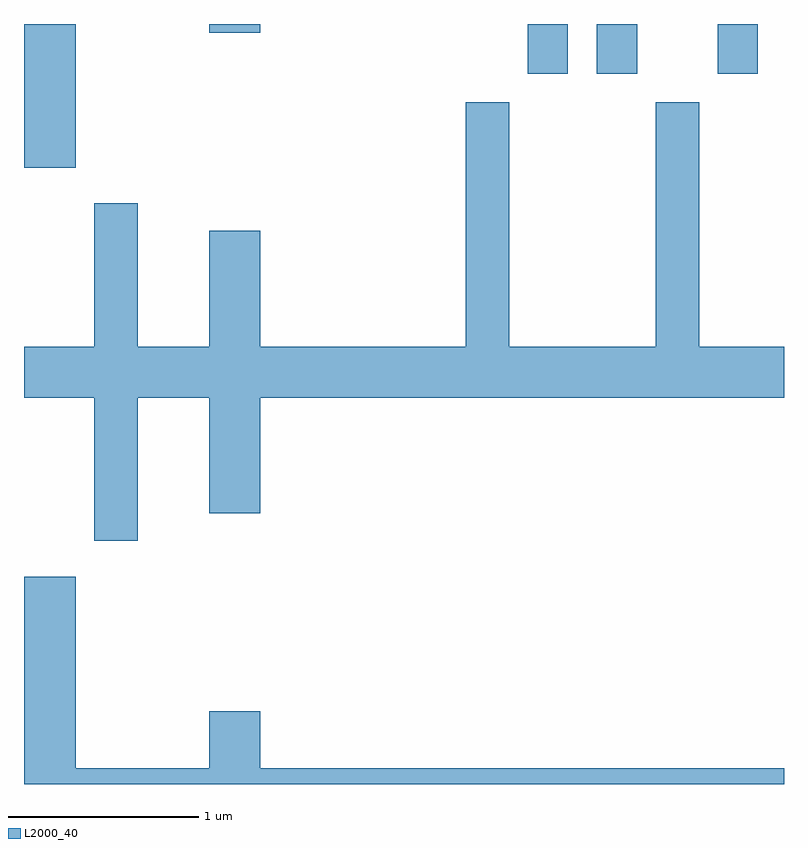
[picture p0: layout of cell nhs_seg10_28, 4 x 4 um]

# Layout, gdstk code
import gdstk
lib = gdstk.Library(unit=1e-6, precision=1e-09)
def R(c, l, rs):  # rectangles x0, y0, x1, y1
    for r in rs: c.add(gdstk.rectangle(r[:2], r[2:], *l))
def P(c, l, *ps):  # polygons
    for p in ps: c.add(gdstk.Polygon(p, *l))
L2000_40 = (2000, 40)

nhs_seg10_28 = lib.new_cell('nhs_seg10_28')
R(nhs_seg10_28, L2000_40, [(185.611,2141.766,185.884,2142.522), (188.261,2142.261,188.474,2142.522), (188.626,2142.261,188.839,2142.522), (189.261,2142.261,189.474,2142.522), (186.586,2142.476,186.854,2142.522)])
P(nhs_seg10_28, L2000_40, [(186.209,2140.556),(186.586,2140.556),(186.586,2139.946),(186.854,2139.946),(186.854,2140.556),(189.611,2140.556),(189.611,2140.824),(189.164,2140.824),(189.164,2142.109),(188.936,2142.109),(188.936,2140.824),(188.164,2140.824),(188.164,2142.109),(187.936,2142.109),(187.936,2140.824),(186.854,2140.824),(186.854,2141.434),(186.586,2141.434),(186.586,2140.824),(186.209,2140.824),(186.209,2141.579),(185.981,2141.579),(185.981,2140.824),(185.611,2140.824),(185.611,2140.556),(185.981,2140.556),(185.981,2139.801),(186.209,2139.801)],
  [(189.611,2138.604),(186.854,2138.604),(186.854,2138.904),(186.586,2138.904),(186.586,2138.604),(185.884,2138.604),(185.884,2139.614),(185.611,2139.614),(185.611,2138.522),(189.611,2138.522)])

lib.write_gds('nhs_seg10_28.gds')
